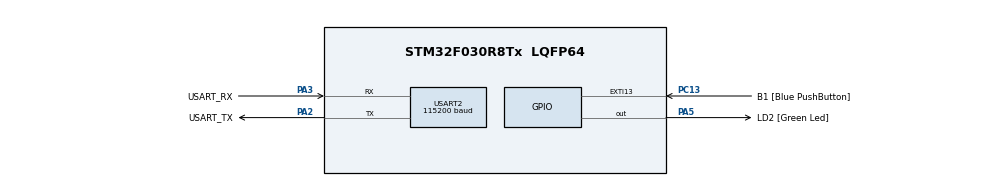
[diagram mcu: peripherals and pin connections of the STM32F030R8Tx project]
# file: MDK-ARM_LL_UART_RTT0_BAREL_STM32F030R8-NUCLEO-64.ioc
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Mcu.Family=STM32F0
Mcu.Name=STM32F030R8Tx
Mcu.Package=LQFP64
NVIC.USART2_IRQn=true\:0\:0\:false\:false\:true\:true\:true
PA13.GPIO_Label=TMS
PA13.Mode=Serial_Wire
PA13.Signal=SYS_SWDIO
PA14.GPIO_Label=TCK
PA14.Mode=Serial_Wire
PA14.Signal=SYS_SWCLK
PA2.GPIO_Label=USART_TX
PA2.GPIO_Mode=GPIO_MODE_AF_PP
PA2.GPIO_PuPd=GPIO_NOPULL
PA2.GPIO_Speed=GPIO_SPEED_FREQ_LOW
PA2.Mode=Asynchronous
PA2.Signal=USART2_TX
PA3.GPIO_Label=USART_RX
PA3.GPIO_Mode=GPIO_MODE_AF_PP
PA3.GPIO_PuPd=GPIO_NOPULL
PA3.GPIO_Speed=GPIO_SPEED_FREQ_LOW
PA3.Mode=Asynchronous
PA3.Signal=USART2_RX
PA5.GPIO_Label=LD2 [Green Led]
PA5.GPIO_Mode=GPIO_MODE_OUTPUT_PP
PA5.GPIO_PuPd=GPIO_NOPULL
PA5.GPIO_Speed=GPIO_SPEED_FREQ_LOW
PA5.Signal=GPIO_Output
PC13.GPIO_Label=B1 [Blue PushButton]
PC13.GPIO_ModeDefaultEXTI=GPIO_MODE_IT_FALLING
PC13.Signal=GPXTI13
PC14-OSC32_IN.Mode=LSE-External-Oscillator
PC14-OSC32_IN.Signal=RCC_OSC32_IN
PC15-OSC32_OUT.Mode=LSE-External-Oscillator
PC15-OSC32_OUT.Signal=RCC_OSC32_OUT
PF0-OSC_IN.Mode=HSE-External-Clock-Source
PF0-OSC_IN.Signal=RCC_OSC_IN
PF1-OSC_OUT.Signal=RCC_OSC_OUT
ProjectManager.HeapSize=0x200
ProjectManager.StackSize=0x400
ProjectManager.TargetToolchain=MDK-ARM V5.27
RCC.AHBFreq_Value=48000000
RCC.APB1Freq_Value=48000000
RCC.APB1TimFreq_Value=48000000
RCC.HCLKFreq_Value=48000000
RCC.PLLMUL=RCC_PLL_MUL12
RCC.SYSCLKFreq_VALUE=48000000
RCC.SYSCLKSource=RCC_SYSCLKSOURCE_PLLCLK
USART2.BaudRate=115200
USART2.VirtualMode-Asynchronous=VM_ASYNC
board=NUCLEO-F030R8

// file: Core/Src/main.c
/* USER CODE BEGIN Header */
/**
  ******************************************************************************
  * @file           : main.c
  * @brief          : Main program body
  ******************************************************************************
  * @attention
  *
  * <h2><center>&copy; Copyright (c) 2020 STMicroelectronics.
  * All rights reserved.</center></h2>
  *
  * This software component is licensed by ST under BSD 3-Clause license,
  * the "License"; You may not use this file except in compliance with the
  * License. You may obtain a copy of the License at:
  *                        opensource.org/licenses/BSD-3-Clause
  *
  ******************************************************************************
  */
/* USER CODE END Header */
#include "main.h"

/* USER CODE BEGIN Includes */
#include "trice.h"
/* USER CODE END Includes */

/* USER CODE BEGIN PV */
int milliSecond = 0;
/* USER CODE END PV */

void SystemClock_Config(void);
static void MX_GPIO_Init(void);
static void MX_USART2_UART_Init(void);

int main(void)
{

  /* MCU Configuration--------------------------------------------------------*/

  /* Reset of all peripherals, Initializes the Flash interface and the Systick. */

  LL_APB1_GRP2_EnableClock(LL_APB1_GRP2_PERIPH_SYSCFG);
  LL_APB1_GRP1_EnableClock(LL_APB1_GRP1_PERIPH_PWR);

  /* System interrupt init*/

  /* Configure the system clock */
  SystemClock_Config();

  /* USER CODE BEGIN SysInit */
    SysTick->CTRL |= SysTick_CTRL_TICKINT_Msk; // enable SysTick interrupt
  /* USER CODE END SysInit */

  /* Initialize all configured peripherals */
  MX_GPIO_Init();
  MX_USART2_UART_Init();
  /* USER CODE BEGIN 2 */
    LL_USART_EnableIT_RXNE(TRICE_UART); // enable UART2 interrupt
    TRICE0( Id(16472), "s:                                                    \ns:   MDK-ARM_LL_UART_RTT0_BAREL_STM32F030_NUCLEO-64   \ns:                                                    \n\n");
  /* USER CODE END 2 */

  /* Infinite loop */
  /* USER CODE BEGIN WHILE */
  while (1)
  {
    static int lastTricesTime = 0;
    { // send some trices every few ms
        if( milliSecond >= lastTricesTime + 100 ){
            static int index = 0;
            triceCheckSet(index%30);
            index++;
            lastTricesTime = milliSecond;
        }
    }
    /* USER CODE END WHILE */

    /* USER CODE BEGIN 3 */
        { // serve every few ms
            static int lastMs = 0;
            if( milliSecond >= lastMs + 1 ){
                lastMs = milliSecond;
                triceServeFifoSyncedToBytesBuffer();
            }
        }
  }
  /* USER CODE END 3 */
}

void SystemClock_Config(void)
{
  LL_FLASH_SetLatency(LL_FLASH_LATENCY_1);
  while(LL_FLASH_GetLatency() != LL_FLASH_LATENCY_1)
  {
  }
  LL_RCC_HSI_Enable();

   /* Wait till HSI is ready */
  while(LL_RCC_HSI_IsReady() != 1)
  {

  }
  LL_RCC_HSI_SetCalibTrimming(16);
  LL_RCC_PLL_ConfigDomain_SYS(LL_RCC_PLLSOURCE_HSI_DIV_2, LL_RCC_PLL_MUL_12);
  LL_RCC_PLL_Enable();

   /* Wait till PLL is ready */
  while(LL_RCC_PLL_IsReady() != 1)
  {

  }
  LL_RCC_SetAHBPrescaler(LL_RCC_SYSCLK_DIV_1);
  LL_RCC_SetAPB1Prescaler(LL_RCC_APB1_DIV_1);
  LL_RCC_SetSysClkSource(LL_RCC_SYS_CLKSOURCE_PLL);

   /* Wait till System clock is ready */
  while(LL_RCC_GetSysClkSource() != LL_RCC_SYS_CLKSOURCE_STATUS_PLL)
  {

  }
  LL_Init1msTick(48000000);
  LL_SetSystemCoreClock(48000000);
}

static void MX_USART2_UART_Init(void)
{

  LL_USART_InitTypeDef USART_InitStruct = {0};

  LL_GPIO_InitTypeDef GPIO_InitStruct = {0};

  /* Peripheral clock enable */
  LL_APB1_GRP1_EnableClock(LL_APB1_GRP1_PERIPH_USART2);

  LL_AHB1_GRP1_EnableClock(LL_AHB1_GRP1_PERIPH_GPIOA);
  /**USART2 GPIO Configuration
  PA2   ------> USART2_TX
  PA3   ------> USART2_RX
  */
  GPIO_InitStruct.Pin = USART_TX_Pin;
  GPIO_InitStruct.Mode = LL_GPIO_MODE_ALTERNATE;
  GPIO_InitStruct.Speed = LL_GPIO_SPEED_FREQ_LOW;
  GPIO_InitStruct.OutputType = LL_GPIO_OUTPUT_PUSHPULL;
  GPIO_InitStruct.Pull = LL_GPIO_PULL_NO;
  GPIO_InitStruct.Alternate = LL_GPIO_AF_1;
  LL_GPIO_Init(USART_TX_GPIO_Port, &GPIO_InitStruct);

  GPIO_InitStruct.Pin = USART_RX_Pin;
  GPIO_InitStruct.Mode = LL_GPIO_MODE_ALTERNATE;
  GPIO_InitStruct.Speed = LL_GPIO_SPEED_FREQ_LOW;
  GPIO_InitStruct.OutputType = LL_GPIO_OUTPUT_PUSHPULL;
  GPIO_InitStruct.Pull = LL_GPIO_PULL_NO;
  GPIO_InitStruct.Alternate = LL_GPIO_AF_1;
  LL_GPIO_Init(USART_RX_GPIO_Port, &GPIO_InitStruct);

  /* USART2 interrupt Init */
  NVIC_SetPriority(USART2_IRQn, 0);
  NVIC_EnableIRQ(USART2_IRQn);

  USART_InitStruct.BaudRate = 115200;
  USART_InitStruct.DataWidth = LL_USART_DATAWIDTH_8B;
  USART_InitStruct.StopBits = LL_USART_STOPBITS_1;
  USART_InitStruct.Parity = LL_USART_PARITY_NONE;
  USART_InitStruct.TransferDirection = LL_USART_DIRECTION_TX_RX;
  USART_InitStruct.HardwareFlowControl = LL_USART_HWCONTROL_NONE;
  USART_InitStruct.OverSampling = LL_USART_OVERSAMPLING_16;
  LL_USART_Init(USART2, &USART_InitStruct);
  LL_USART_DisableIT_CTS(USART2);
  LL_USART_ConfigAsyncMode(USART2);
  LL_USART_Enable(USART2);

}

static void MX_GPIO_Init(void)
{
  LL_EXTI_InitTypeDef EXTI_InitStruct = {0};
  LL_GPIO_InitTypeDef GPIO_InitStruct = {0};

  /* GPIO Ports Clock Enable */
  LL_AHB1_GRP1_EnableClock(LL_AHB1_GRP1_PERIPH_GPIOC);
  LL_AHB1_GRP1_EnableClock(LL_AHB1_GRP1_PERIPH_GPIOF);
  LL_AHB1_GRP1_EnableClock(LL_AHB1_GRP1_PERIPH_GPIOA);

  /**/
  LL_GPIO_ResetOutputPin(LD2_GPIO_Port, LD2_Pin);

  /**/
  LL_SYSCFG_SetEXTISource(LL_SYSCFG_EXTI_PORTC, LL_SYSCFG_EXTI_LINE13);

  /**/
  LL_GPIO_SetPinPull(B1_GPIO_Port, B1_Pin, LL_GPIO_PULL_NO);

  /**/
  LL_GPIO_SetPinMode(B1_GPIO_Port, B1_Pin, LL_GPIO_MODE_INPUT);

  /**/
  EXTI_InitStruct.Line_0_31 = LL_EXTI_LINE_13;
  EXTI_InitStruct.LineCommand = ENABLE;
  EXTI_InitStruct.Mode = LL_EXTI_MODE_IT;
  EXTI_InitStruct.Trigger = LL_EXTI_TRIGGER_FALLING;
  LL_EXTI_Init(&EXTI_InitStruct);

  /**/
  GPIO_InitStruct.Pin = LD2_Pin;
  GPIO_InitStruct.Mode = LL_GPIO_MODE_OUTPUT;
  GPIO_InitStruct.Speed = LL_GPIO_SPEED_FREQ_LOW;
  GPIO_InitStruct.OutputType = LL_GPIO_OUTPUT_PUSHPULL;
  GPIO_InitStruct.Pull = LL_GPIO_PULL_NO;
  LL_GPIO_Init(LD2_GPIO_Port, &GPIO_InitStruct);

}

void Error_Handler(void)
{
  __disable_irq();
  while (1)
  {
  }
}

/************************ (C) COPYRIGHT STMicroelectronics *****END OF FILE****/
